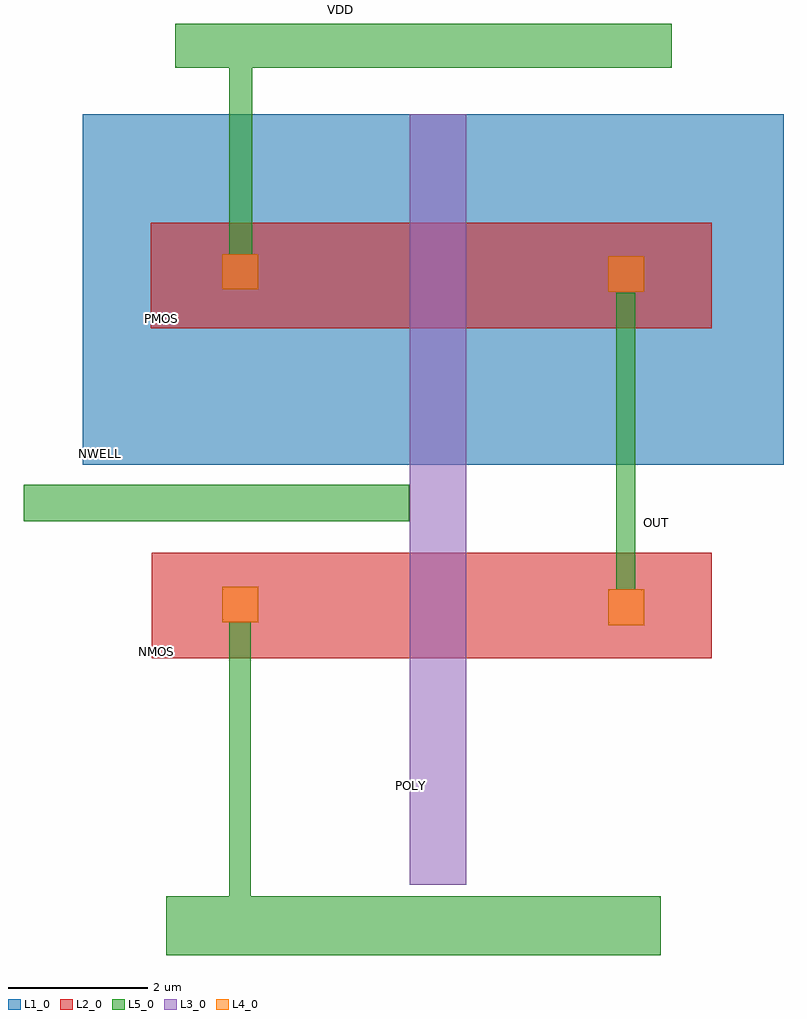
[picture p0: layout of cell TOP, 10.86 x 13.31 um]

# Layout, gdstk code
import gdstk
lib = gdstk.Library(unit=1e-6, precision=1e-09)
def R(c, l, rs):  # rectangles x0, y0, x1, y1
    for r in rs: c.add(gdstk.rectangle(r[:2], r[2:], *l))
L1_0 = (1, 0)
L2_0 = (2, 0)
L3_0 = (3, 0)
L4_0 = (4, 0)
L5_0 = (5, 0)

top = lib.new_cell('TOP')
R(top, L1_0, [(14.86,3.974,24.872,8.98)])
R(top, L2_0, [(15.847,1.212,23.848,2.718), (15.829,5.921,23.85,7.432)])
R(top, L3_0, [(19.532,-2.029,20.338,8.984)])
R(top, L4_0, [(22.369,1.682,22.88,2.193), (16.855,1.723,17.366,2.234), (22.369,6.443,22.88,6.954), (16.855,6.483,17.366,6.981)])
R(top, L5_0, [(16.05,-3.036,23.12,-2.191), (16.953,-2.21,17.261,1.728), (22.486,2.189,22.755,6.435), (14.014,3.169,19.528,3.688), (16.953,6.973,17.28,9.643), (16.185,9.643,23.274,10.277)])
top.add(gdstk.Label('NMOS', (15.92,1.312), layer=4, texttype=0))
top.add(gdstk.Label('PMOS', (15.981,6.065), layer=4, texttype=0))
top.add(gdstk.Label('NWELL', (15.121,4.139), layer=4, texttype=0))
top.add(gdstk.Label('VDD', (18.542,10.472), layer=4, texttype=0))
top.add(gdstk.Label('OUT', (23.06,3.145), layer=4, texttype=0))
top.add(gdstk.Label('GND', (18.565,-3.691), layer=4, texttype=0))
top.add(gdstk.Label('IN', (13.134,3.192), layer=4, texttype=0))
top.add(gdstk.Label('POLY', (19.544,-0.603), layer=4, texttype=0))

lib.write_gds('TOP.gds')
